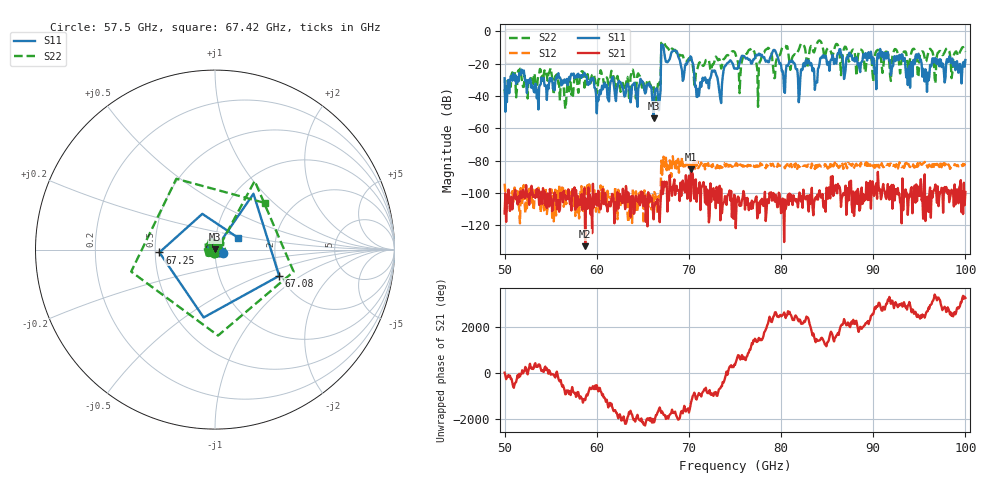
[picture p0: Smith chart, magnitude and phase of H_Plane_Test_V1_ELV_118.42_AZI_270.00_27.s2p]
! 11/27/2026 8:19:08 AM
! C:\ANRITSUVNA\TEMP\TEMP.S2P
! CHANNEL.1
! TR.MEASUREMENT
! RAW.DATA
# HZ S RI R 50.0
! FREQ.HZ  S11RE  S11IM  S21RE  S21IM  S12RE  S12IM  S22RE  S22IM
!; PortSelection: Port_12
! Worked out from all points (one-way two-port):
!   601 points, 50 GHz to 100 GHz, reference 50 ohm
!   highest |S21| = -85.43 dB at 70.25 GHz (marker M1); lowest = -133.0 dB at 58.75 GHz (marker M2)
!   lowest |S11| = -53.9 dB at 66.17 GHz (marker M3), VSWR 1.00, Z = 50.1 + j0.151 ohm
!   |S11| at or under -10 dB: start of sweep to 67 GHz; 67.24 GHz to end of sweep
!   |S22| runs from -48.0 to -5.6 dB; largest |S21 - S12| = 0.00014
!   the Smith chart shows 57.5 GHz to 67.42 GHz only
!   S11 on the Smith chart (normalised r, x): 57.5 GHz: 1.09, -0.05; 67.08 GHz: 1.96, -0.67; 67.25 GHz: 0.53, -0.02; 67.42 GHz: 1.29, +0.17
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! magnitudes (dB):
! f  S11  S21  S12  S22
! 50 GHz  -29.0  -112.7  -94.3  -35.7
! 51.67 GHz  -26.2  -99.8  -118.9  -23.1
! 57.5 GHz  -26.1  -101.3  -107.9  -34.4
! 58.42 GHz  -27.1  -110.5  -104.1  -24.6
! 58.75 GHz  -27.0  -133.0  -98.0  -30.5
! 60.17 GHz  -42.9  -98.7  -102.7  -30.2
! 66.17 GHz  -53.9  -116.4  -110.7  -33.9
! 66.67 GHz  -41.8  -111.6  -102.4  -31.5
! 67.08 GHz  -8.3  -93.0  -88.8  -6.8
! 67.25 GHz  -10.2  -97.2  -77.6  -6.3
! 67.42 GHz  -16.7  -96.0  -80.5  -8.4
! 70.25 GHz  -16.0  -85.4  -81.9  -18.8
! 70.92 GHz  -40.6  -97.4  -80.5  -23.1
! 75 GHz  -23.1  -102.5  -83.1  -13.0
! 79.25 GHz  -11.4  -102.1  -83.6  -29.0
! 80.25 GHz  -27.9  -104.1  -82.9  -9.3
! 83.42 GHz  -24.6  -109.2  -82.9  -10.9
! 91.67 GHz  -16.7  -101.6  -82.2  -15.3
! 93.75 GHz  -33.2  -113.6  -82.2  -21.8
! 94.83 GHz  -14.8  -96.0  -81.5  -28.4
! 95.83 GHz  -37.4  -102.8  -83.1  -16.4
! 100 GHz  -17.7  -99.5  -84.7  -12.6
